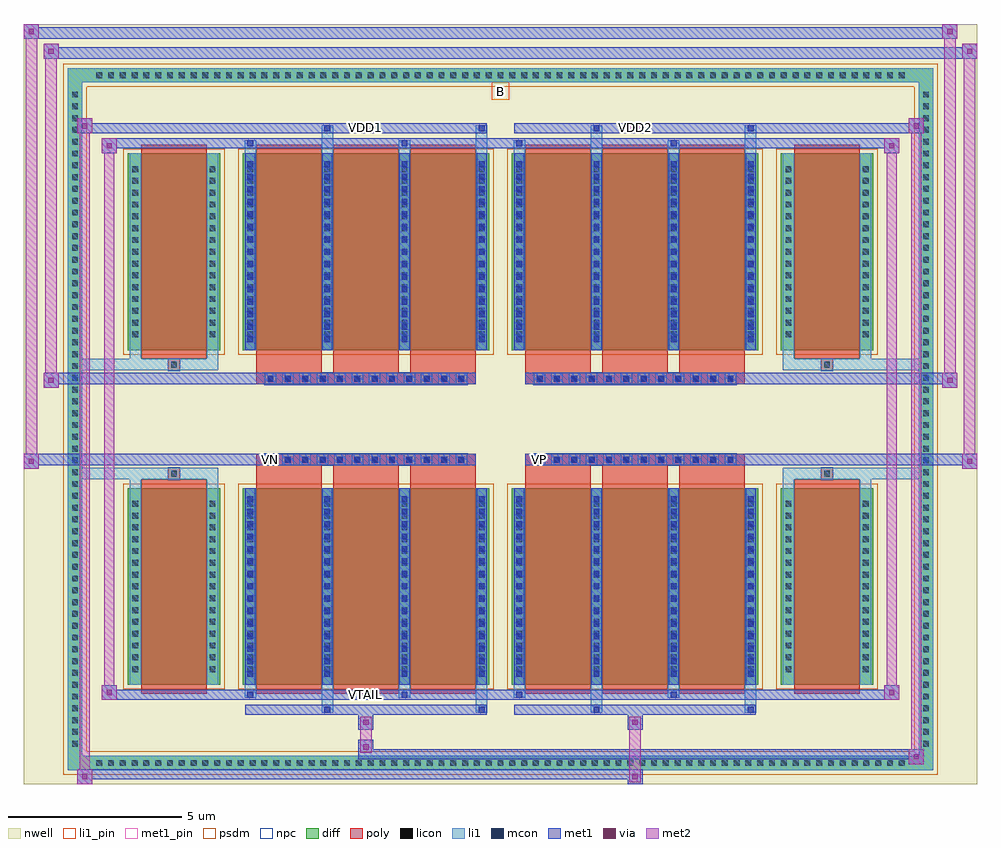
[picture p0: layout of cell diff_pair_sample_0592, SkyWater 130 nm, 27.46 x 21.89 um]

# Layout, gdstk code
import gdstk
lib = gdstk.Library(unit=1e-6, precision=5e-09)
def R(c, l, rs):  # rectangles x0, y0, x1, y1
    for r in rs: c.add(gdstk.rectangle(r[:2], r[2:], *l))
def A(c, l, x, y, w, h, nx, ny, dx, dy):  # array of equal rectangles
    R(c, l, [(x+i*dx, y+j*dy, x+i*dx+w, y+j*dy+h) for i in range(nx) for j in range(ny)])
def P(c, l, *ps):  # polygons
    for p in ps: c.add(gdstk.Polygon(p, *l))
nwell = (64, 20)
diff = (65, 20)
poly = (66, 20)
licon = (66, 44)
li1_pin = (67, 16)
li1 = (67, 20)
mcon = (67, 44)
met1_pin = (68, 16)
met1 = (68, 20)
via = (68, 44)
met2 = (69, 20)
psdm = (94, 20)
npc = (95, 20)

diff_pair_sample_0592 = lib.new_cell('diff_pair_sample_0592')
R(diff_pair_sample_0592, nwell, [(-13.73,-10.51,13.73,11.38), (-11.05,-8.7,-0.01,-0.8), (0.01,-8.7,11.05,-0.8), (-11.05,0.8,-0.01,8.7), (0.01,0.8,11.05,8.7)])
A(diff_pair_sample_0592, diff, -11.765, -10.11, 0.41, 0.41, 69, 2, 0.34, 19.81)
A(diff_pair_sample_0592, diff, -12.46, -9.555, 0.41, 0.41, 1, 56, 0, 0.34)
A(diff_pair_sample_0592, diff, 12.05, -9.555, 0.41, 0.41, 1, 56, 0, 0.34)
R(diff_pair_sample_0592, diff, [(-11.765,-10.11,11.765,-9.7), (-12.46,-9.555,-12.05,9.555), (12.05,-9.555,12.46,9.555), (-10.74,-7.655,-8.07,-1.985), (-7.43,-7.655,-0.32,-1.985), (0.32,-7.655,7.43,-1.985), (8.07,-7.655,10.74,-1.985), (-10.74,1.985,-8.07,7.655), (-7.43,1.985,-0.32,7.655), (0.32,1.985,7.43,7.655), (8.07,1.985,10.74,7.655), (-11.765,9.7,11.765,10.11)])
P(diff_pair_sample_0592, diff, [(12.46,10.11),(-12.46,10.11),(-12.46,-9.7),(-12.05,-9.7),(-12.05,9.7),(12.05,9.7),(12.05,-9.7),(-12.05,-9.7),(-12.46,-9.7),(-12.46,-10.11),(12.46,-10.11)])
A(diff_pair_sample_0592, poly, -7.04, -7.905, 1.89, 6.17, 3, 2, 2.22, 9.64)
A(diff_pair_sample_0592, poly, 0.71, -7.905, 1.89, 6.17, 3, 2, 2.22, 9.64)
A(diff_pair_sample_0592, poly, -7.04, -1.735, 1.89, 0.405, 3, 2, 2.22, 3.065)
A(diff_pair_sample_0592, poly, 0.71, -1.735, 1.89, 0.405, 3, 2, 2.22, 3.065)
A(diff_pair_sample_0592, poly, -6.79, -1.33, 0.33, 0.33, 12, 2, 0.5, 2.33)
A(diff_pair_sample_0592, poly, 0.96, -1.33, 0.33, 0.33, 12, 2, 0.5, 2.33)
R(diff_pair_sample_0592, poly, [(-10.35,-7.905,-8.46,-1.735), (8.46,-7.905,10.35,-1.735), (-9.57,-1.735,-9.24,-1.405), (-9.57,-1.735,-9.24,-1.405), (9.24,-1.735,9.57,-1.405), (9.24,-1.735,9.57,-1.405), (-7.04,-1.33,-0.71,-1), (0.71,-1.33,7.04,-1), (-7.04,1,-0.71,1.33), (0.71,1,7.04,1.33), (-9.57,1.405,-9.24,1.735), (-9.57,1.405,-9.24,1.735), (9.24,1.405,9.57,1.735), (9.24,1.405,9.57,1.735), (-10.35,1.735,-8.46,7.905), (8.46,1.735,10.35,7.905)])
A(diff_pair_sample_0592, licon, -11.645, -9.99, 0.17, 0.17, 69, 2, 0.34, 19.81)
A(diff_pair_sample_0592, licon, -12.34, -9.435, 0.17, 0.17, 1, 56, 0, 0.34)
A(diff_pair_sample_0592, licon, 12.17, -9.435, 0.17, 0.17, 1, 56, 0, 0.34)
A(diff_pair_sample_0592, licon, -10.6, -7.285, 0.17, 0.17, 1, 15, 0, 0.34)
A(diff_pair_sample_0592, licon, -8.38, -7.285, 0.17, 0.17, 1, 15, 0, 0.34)
A(diff_pair_sample_0592, licon, -7.29, -7.285, 0.17, 0.17, 4, 15, 2.22, 0.34)
A(diff_pair_sample_0592, licon, 0.46, -7.285, 0.17, 0.17, 4, 15, 2.22, 0.34)
A(diff_pair_sample_0592, licon, 8.21, -7.285, 0.17, 0.17, 1, 15, 0, 0.34)
A(diff_pair_sample_0592, licon, 10.43, -7.285, 0.17, 0.17, 1, 15, 0, 0.34)
A(diff_pair_sample_0592, licon, -6.71, -1.25, 0.17, 0.17, 12, 2, 0.5, 2.33)
A(diff_pair_sample_0592, licon, 1.04, -1.25, 0.17, 0.17, 12, 2, 0.5, 2.33)
A(diff_pair_sample_0592, licon, -10.6, 2.355, 0.17, 0.17, 1, 15, 0, 0.34)
A(diff_pair_sample_0592, licon, -8.38, 2.355, 0.17, 0.17, 1, 15, 0, 0.34)
A(diff_pair_sample_0592, licon, -7.29, 2.355, 0.17, 0.17, 4, 15, 2.22, 0.34)
A(diff_pair_sample_0592, licon, 0.46, 2.355, 0.17, 0.17, 4, 15, 2.22, 0.34)
A(diff_pair_sample_0592, licon, 8.21, 2.355, 0.17, 0.17, 1, 15, 0, 0.34)
A(diff_pair_sample_0592, licon, 10.43, 2.355, 0.17, 0.17, 1, 15, 0, 0.34)
R(diff_pair_sample_0592, licon, [(-9.49,-1.655,-9.32,-1.485), (9.32,-1.655,9.49,-1.485), (-9.49,1.485,-9.32,1.655), (9.32,1.485,9.49,1.655)])
R(diff_pair_sample_0592, li1_pin, [(-0.25,9.2,0.25,9.7)])
A(diff_pair_sample_0592, li1, -11.725, -10.07, 0.33, 0.33, 69, 2, 0.34, 19.81)
A(diff_pair_sample_0592, li1, -12.42, -9.515, 0.33, 0.33, 1, 56, 0, 0.34)
A(diff_pair_sample_0592, li1, 12.09, -9.515, 0.33, 0.33, 1, 56, 0, 0.34)
A(diff_pair_sample_0592, li1, -7.37, -7.655, 0.33, 5.67, 4, 2, 2.22, 9.64)
A(diff_pair_sample_0592, li1, 0.38, -7.655, 0.33, 5.67, 4, 2, 2.22, 9.64)
A(diff_pair_sample_0592, li1, -7.29, -7.425, 0.17, 0.17, 4, 15, 2.22, 0.36)
A(diff_pair_sample_0592, li1, -7.29, -7.425, 0.17, 5.21, 4, 2, 2.22, 9.64)
A(diff_pair_sample_0592, li1, 0.46, -7.425, 0.17, 0.17, 4, 15, 2.22, 0.36)
A(diff_pair_sample_0592, li1, 0.46, -7.425, 0.17, 5.21, 4, 2, 2.22, 9.64)
A(diff_pair_sample_0592, li1, -10.68, -7.365, 0.33, 0.33, 1, 15, 0, 0.34)
A(diff_pair_sample_0592, li1, -8.46, -7.365, 0.33, 0.33, 1, 15, 0, 0.34)
A(diff_pair_sample_0592, li1, -7.37, -7.365, 0.33, 0.33, 4, 15, 2.22, 0.34)
A(diff_pair_sample_0592, li1, 0.38, -7.365, 0.33, 0.33, 4, 15, 2.22, 0.34)
A(diff_pair_sample_0592, li1, 8.13, -7.365, 0.33, 0.33, 1, 15, 0, 0.34)
A(diff_pair_sample_0592, li1, 10.35, -7.365, 0.33, 0.33, 1, 15, 0, 0.34)
A(diff_pair_sample_0592, li1, -6.79, -1.33, 0.33, 0.33, 12, 2, 0.5, 2.33)
A(diff_pair_sample_0592, li1, 0.96, -1.33, 0.33, 0.33, 12, 2, 0.5, 2.33)
A(diff_pair_sample_0592, li1, -7.29, 2.215, 0.17, 0.17, 4, 15, 2.22, 0.36)
A(diff_pair_sample_0592, li1, 0.46, 2.215, 0.17, 0.17, 4, 15, 2.22, 0.36)
A(diff_pair_sample_0592, li1, -10.68, 2.275, 0.33, 0.33, 1, 15, 0, 0.34)
A(diff_pair_sample_0592, li1, -8.46, 2.275, 0.33, 0.33, 1, 15, 0, 0.34)
A(diff_pair_sample_0592, li1, -7.37, 2.275, 0.33, 0.33, 4, 15, 2.22, 0.34)
A(diff_pair_sample_0592, li1, 0.38, 2.275, 0.33, 0.33, 4, 15, 2.22, 0.34)
A(diff_pair_sample_0592, li1, 8.13, 2.275, 0.33, 0.33, 1, 15, 0, 0.34)
A(diff_pair_sample_0592, li1, 10.35, 2.275, 0.33, 0.33, 1, 15, 0, 0.34)
R(diff_pair_sample_0592, li1, [(-12.46,-10.11,-12.05,-9.7), (-12.46,-10.11,-12.05,-9.7), (-12.05,-10.11,12.05,-9.7), (12.05,-10.11,12.46,-9.7), (12.05,-10.11,12.46,-9.7), (-12.46,-9.7,-12.05,9.7), (12.05,-9.7,12.46,9.7), (-5.15,-8.46,-4.82,-7.655), (-5.07,-8.46,-4.9,-8.29), (-0.71,-8.46,-0.38,-7.655), (-0.63,-8.46,-0.46,-8.29), (2.6,-8.46,2.93,-7.655), (2.68,-8.46,2.85,-8.29), (7.04,-8.46,7.37,-7.655), (7.12,-8.46,7.29,-8.29), (-7.37,-8.03,-7.04,-7.655), (-7.29,-8.03,-7.12,-7.86), (-2.93,-8.03,-2.6,-7.655), (-2.85,-8.03,-2.68,-7.86), (0.38,-8.03,0.71,-7.655), (0.46,-8.03,0.63,-7.86), (4.82,-8.03,5.15,-7.655), (4.9,-8.03,5.07,-7.86), (-10.68,-7.655,-10.35,-1.985), (-8.46,-7.655,-8.13,-1.985), (8.13,-7.655,8.46,-1.985), (10.35,-7.655,10.68,-1.985), (-10.68,-1.985,-10.35,-1.405), (-8.46,-1.985,-8.13,-1.405), (8.13,-1.985,8.46,-1.405), (10.35,-1.985,10.68,-1.405), (-12.46,-1.735,-9.57,-1.405), (-10.68,-1.735,-9.57,-1.405), (-9.57,-1.735,-9.24,-1.405), (-9.24,-1.735,-8.13,-1.405), (8.13,-1.735,9.24,-1.405), (9.24,-1.735,9.57,-1.405), (9.24,-1.735,12.46,-1.405), (9.57,-1.735,10.68,-1.405), (-12.46,1.405,-9.57,1.735), (-10.68,1.405,-9.57,1.735), (-10.68,1.405,-10.35,1.985), (-9.57,1.405,-9.24,1.735), (-9.24,1.405,-8.13,1.735), (-8.46,1.405,-8.13,1.985), (8.13,1.405,9.24,1.735), (8.13,1.405,8.46,1.985), (9.24,1.405,9.57,1.735), (9.24,1.405,12.46,1.735), (9.57,1.405,10.68,1.735), (10.35,1.405,10.68,1.985), (-10.68,1.985,-10.35,7.655), (-8.46,1.985,-8.13,7.655), (8.13,1.985,8.46,7.655), (10.35,1.985,10.68,7.655), (-7.37,7.655,-7.04,8.03), (-5.15,7.655,-4.82,8.46), (-2.93,7.655,-2.6,8.03), (-0.71,7.655,-0.38,8.46), (0.38,7.655,0.71,8.03), (2.6,7.655,2.93,8.46), (4.82,7.655,5.15,8.03), (7.04,7.655,7.37,8.46), (-7.29,7.86,-7.12,8.03), (-2.85,7.86,-2.68,8.03), (0.46,7.86,0.63,8.03), (4.9,7.86,5.07,8.03), (-5.07,8.29,-4.9,8.46), (-0.63,8.29,-0.46,8.46), (2.68,8.29,2.85,8.46), (7.12,8.29,7.29,8.46), (-12.46,9.7,-12.05,10.11), (-12.46,9.7,-12.05,10.11), (-12.05,9.7,12.05,10.11), (12.05,9.7,12.46,10.11), (12.05,9.7,12.46,10.11)])
A(diff_pair_sample_0592, mcon, -7.29, -7.425, 0.17, 0.17, 4, 15, 2.22, 0.36)
A(diff_pair_sample_0592, mcon, 0.46, -7.425, 0.17, 0.17, 4, 15, 2.22, 0.36)
A(diff_pair_sample_0592, mcon, -6.71, -1.25, 0.17, 0.17, 12, 2, 0.5, 2.33)
A(diff_pair_sample_0592, mcon, 1.04, -1.25, 0.17, 0.17, 12, 2, 0.5, 2.33)
A(diff_pair_sample_0592, mcon, -7.29, 2.215, 0.17, 0.17, 4, 15, 2.22, 0.36)
A(diff_pair_sample_0592, mcon, 0.46, 2.215, 0.17, 0.17, 4, 15, 2.22, 0.36)
R(diff_pair_sample_0592, mcon, [(-5.07,-8.46,-4.9,-8.29), (-0.63,-8.46,-0.46,-8.29), (2.68,-8.46,2.85,-8.29), (7.12,-8.46,7.29,-8.29), (-7.29,-8.03,-7.12,-7.86), (-2.85,-8.03,-2.68,-7.86), (0.46,-8.03,0.63,-7.86), (4.9,-8.03,5.07,-7.86), (-7.29,7.86,-7.12,8.03), (-2.85,7.86,-2.68,8.03), (0.46,7.86,0.63,8.03), (4.9,7.86,5.07,8.03), (-5.07,8.29,-4.9,8.46), (-0.63,8.29,-0.46,8.46), (2.68,8.29,2.85,8.46), (7.12,8.29,7.29,8.46)])
R(diff_pair_sample_0592, met1_pin, [(-4.01,-8.07,-3.74,-7.8), (-6.76,-1.29,-6.49,-1.02), (0.99,-1.29,1.26,-1.02), (-4.01,8.25,-3.74,8.52), (3.74,8.25,4.01,8.52)])
A(diff_pair_sample_0592, met1, -7.35, -7.655, 0.29, 5.67, 4, 2, 2.22, 9.64)
A(diff_pair_sample_0592, met1, 0.4, -7.655, 0.29, 5.67, 4, 2, 2.22, 9.64)
A(diff_pair_sample_0592, met1, -7.35, -7.485, 0.29, 0.29, 4, 15, 2.22, 0.36)
A(diff_pair_sample_0592, met1, 0.4, -7.485, 0.29, 0.29, 4, 15, 2.22, 0.36)
A(diff_pair_sample_0592, met1, -6.77, -1.31, 0.29, 0.29, 12, 2, 0.5, 2.33)
A(diff_pair_sample_0592, met1, 0.98, -1.31, 0.29, 0.29, 12, 2, 0.5, 2.33)
A(diff_pair_sample_0592, met1, -7.35, 2.155, 0.29, 0.29, 4, 15, 2.22, 0.36)
A(diff_pair_sample_0592, met1, 0.4, 2.155, 0.29, 0.29, 4, 15, 2.22, 0.36)
R(diff_pair_sample_0592, met1, [(-12.19,-10.51,-11.76,-10.08), (3.66,-10.51,4.09,-10.08), (-12.19,-10.37,4.09,-10.08), (11.76,-9.94,12.19,-9.51), (-4.09,-9.8,12.19,-9.51), (-4.09,-9.66,-3.66,-9.23), (-4.09,-8.95,-3.66,-8.52), (3.66,-8.95,4.09,-8.52), (-7.35,-8.52,-0.4,-8.23), (-5.13,-8.52,-4.84,-8.23), (-0.69,-8.52,-0.4,-8.23), (0.4,-8.52,7.35,-8.23), (2.62,-8.52,2.91,-8.23), (7.06,-8.52,7.35,-8.23), (-11.48,-8.09,-11.05,-7.66), (-11.48,-8.09,-7.35,-7.8), (-7.35,-8.09,-7.06,-7.8), (-7.35,-8.09,-0.4,-7.8), (-2.91,-8.09,-2.62,-7.8), (-0.4,-8.09,0.4,-7.8), (0.4,-8.09,0.69,-7.8), (0.4,-8.09,7.35,-7.8), (4.84,-8.09,5.13,-7.8), (7.35,-8.09,11.48,-7.8), (11.05,-8.09,11.48,-7.66), (-13.73,-1.43,-13.3,-1), (13.3,-1.43,13.73,-1), (-13.73,-1.33,-0.71,-1), (-7.04,-1.33,-0.71,-1), (0.71,-1.33,7.04,-1), (0.71,-1.33,13.73,-1), (-13.16,0.9,-12.73,1.33), (12.73,0.9,13.16,1.33), (-13.16,1,-7.04,1.33), (-7.04,1,-0.71,1.33), (0.71,1,7.04,1.33), (7.04,1,13.16,1.33), (-11.48,7.66,-11.05,8.09), (11.05,7.66,11.48,8.09), (-11.48,7.8,-7.35,8.09), (-7.35,7.8,-7.06,8.09), (-7.35,7.8,-0.4,8.09), (-2.91,7.8,-2.62,8.09), (-0.4,7.8,0.4,8.09), (0.4,7.8,0.69,8.09), (0.4,7.8,7.35,8.09), (4.84,7.8,5.13,8.09), (7.35,7.8,11.48,8.09), (-12.19,8.23,-11.76,8.66), (-12.19,8.23,-7.35,8.52), (-7.35,8.23,-0.4,8.52), (-5.13,8.23,-4.84,8.52), (-0.69,8.23,-0.4,8.52), (0.4,8.23,7.35,8.52), (2.62,8.23,2.91,8.52), (7.06,8.23,7.35,8.52), (7.35,8.23,12.19,8.52), (11.76,8.23,12.19,8.66), (-13.16,10.38,-12.73,10.81), (-13.16,10.38,-11.05,10.71), (-11.05,10.38,11.05,10.71), (11.05,10.38,13.73,10.71), (13.3,10.38,13.73,10.81), (-13.73,10.95,-13.3,11.38), (-13.73,10.95,-11.05,11.28), (-11.05,10.95,11.05,11.28), (11.05,10.95,13.16,11.28), (12.73,10.95,13.16,11.38)])
R(diff_pair_sample_0592, via, [(-12.05,-10.37,-11.9,-10.22), (3.8,-10.37,3.95,-10.22), (11.9,-9.8,12.05,-9.65), (-3.95,-9.52,-3.8,-9.37), (-3.95,-8.81,-3.8,-8.66), (3.8,-8.81,3.95,-8.66), (-11.34,-7.95,-11.19,-7.8), (11.19,-7.95,11.34,-7.8), (-13.59,-1.29,-13.44,-1.14), (13.44,-1.29,13.59,-1.14), (-13.02,1.04,-12.87,1.19), (12.87,1.04,13.02,1.19), (-11.34,7.8,-11.19,7.95), (11.19,7.8,11.34,7.95), (-12.05,8.37,-11.9,8.52), (11.9,8.37,12.05,8.52), (-13.02,10.52,-12.87,10.67), (13.44,10.52,13.59,10.67), (-13.59,11.09,-13.44,11.24), (12.87,11.09,13.02,11.24)])
R(diff_pair_sample_0592, met2, [(-12.19,-10.51,-11.76,-10.08), (-12.12,-10.51,-11.83,8.66), (-11.83,-10.51,-11.76,-10.08), (-12.14,-10.46,-11.81,-10.13), (3.71,-10.46,4.04,-10.13), (3.71,-10.13,4.04,-8.9), (11.76,-9.94,12.19,-9.51), (11.83,-9.94,12.12,8.66), (12.12,-9.94,12.19,-9.51), (11.81,-9.89,12.14,-9.56), (-4.04,-9.61,-3.71,-9.28), (-4.04,-9.28,-3.71,-8.9), (-4.04,-8.9,-3.71,-8.57), (3.71,-8.9,4.04,-8.57), (-11.48,-8.09,-11.05,-7.66), (-11.41,-8.09,-11.12,8.09), (-11.12,-8.09,-11.05,-7.66), (11.05,-8.09,11.48,-7.66), (11.12,-8.09,11.41,8.09), (11.41,-8.09,11.48,-7.66), (-11.43,-8.04,-11.1,-7.71), (11.1,-8.04,11.43,-7.71), (-13.73,-1.43,-13.3,-1), (-13.68,-1.43,-13.35,11.38), (-13.35,-1.43,-13.3,-1), (13.3,-1.43,13.73,-1), (13.35,-1.43,13.68,10.81), (13.68,-1.43,13.73,-1), (-13.68,-1.38,-13.35,-1.05), (13.35,-1.38,13.68,-1.05), (-13.16,0.9,-12.73,1.33), (-13.11,0.9,-12.78,10.81), (-12.78,0.9,-12.73,1.33), (12.73,0.9,13.16,1.33), (12.78,0.9,13.11,11.38), (13.11,0.9,13.16,1.33), (-13.11,0.95,-12.78,1.28), (12.78,0.95,13.11,1.28), (-11.48,7.66,-11.05,8.09), (-11.12,7.66,-11.05,8.09), (11.05,7.66,11.48,8.09), (11.41,7.66,11.48,8.09), (-11.43,7.71,-11.1,8.04), (11.1,7.71,11.43,8.04), (-12.19,8.23,-11.76,8.66), (-11.83,8.23,-11.76,8.66), (11.76,8.23,12.19,8.66), (12.12,8.23,12.19,8.66), (-12.14,8.28,-11.81,8.61), (11.81,8.28,12.14,8.61), (-13.16,10.38,-12.73,10.81), (-12.78,10.38,-12.73,10.81), (13.3,10.38,13.73,10.81), (13.68,10.38,13.73,10.81), (-13.11,10.43,-12.78,10.76), (13.35,10.43,13.68,10.76), (-13.73,10.95,-13.3,11.38), (-13.35,10.95,-13.3,11.38), (12.73,10.95,13.16,11.38), (13.11,10.95,13.16,11.38), (-13.68,11,-13.35,11.33), (12.78,11,13.11,11.33)])
R(diff_pair_sample_0592, psdm, [(-10.87,-7.785,-7.94,-1.855), (-7.56,-7.785,-0.19,-1.855), (0.19,-7.785,7.56,-1.855), (7.94,-7.785,10.87,-1.855), (-10.87,1.855,-7.94,7.785), (-7.56,1.855,-0.19,7.785), (0.19,1.855,7.56,7.785), (7.94,1.855,10.87,7.785)])
P(diff_pair_sample_0592, psdm, [(12.59,10.24),(-12.59,10.24),(-12.59,-9.57),(-11.92,-9.57),(-11.92,9.57),(11.92,9.57),(11.92,-9.57),(-11.92,-9.57),(-12.59,-9.57),(-12.59,-10.24),(12.59,-10.24)])
A(diff_pair_sample_0592, npc, -6.81, -1.35, 0.37, 0.37, 12, 2, 0.5, 2.33)
A(diff_pair_sample_0592, npc, 0.94, -1.35, 0.37, 0.37, 12, 2, 0.5, 2.33)
R(diff_pair_sample_0592, npc, [(-9.59,-1.755,-9.22,-1.385), (9.22,-1.755,9.59,-1.385), (-6.81,-1.35,-5.94,-0.98), (-6.81,-1.35,-5.94,-0.98), (-6.31,-1.35,-5.44,-0.98), (-6.31,-1.35,-5.44,-0.98), (-5.81,-1.35,-4.94,-0.98), (-5.81,-1.35,-4.94,-0.98), (-5.31,-1.35,-4.44,-0.98), (-5.31,-1.35,-4.44,-0.98), (-4.81,-1.35,-3.94,-0.98), (-4.81,-1.35,-3.94,-0.98), (-4.31,-1.35,-3.44,-0.98), (-4.31,-1.35,-3.44,-0.98), (-3.81,-1.35,-2.94,-0.98), (-3.81,-1.35,-2.94,-0.98), (-3.31,-1.35,-2.44,-0.98), (-3.31,-1.35,-2.44,-0.98), (-2.81,-1.35,-1.94,-0.98), (-2.81,-1.35,-1.94,-0.98), (-2.31,-1.35,-1.44,-0.98), (-2.31,-1.35,-1.44,-0.98), (-1.81,-1.35,-0.94,-0.98), (-1.81,-1.35,-0.94,-0.98), (0.94,-1.35,1.81,-0.98), (0.94,-1.35,1.81,-0.98), (1.44,-1.35,2.31,-0.98), (1.44,-1.35,2.31,-0.98), (1.94,-1.35,2.81,-0.98), (1.94,-1.35,2.81,-0.98), (2.44,-1.35,3.31,-0.98), (2.44,-1.35,3.31,-0.98), (2.94,-1.35,3.81,-0.98), (2.94,-1.35,3.81,-0.98), (3.44,-1.35,4.31,-0.98), (3.44,-1.35,4.31,-0.98), (3.94,-1.35,4.81,-0.98), (3.94,-1.35,4.81,-0.98), (4.44,-1.35,5.31,-0.98), (4.44,-1.35,5.31,-0.98), (4.94,-1.35,5.81,-0.98), (4.94,-1.35,5.81,-0.98), (5.44,-1.35,6.31,-0.98), (5.44,-1.35,6.31,-0.98), (5.94,-1.35,6.81,-0.98), (5.94,-1.35,6.81,-0.98), (-6.81,0.98,-5.94,1.35), (-6.81,0.98,-5.94,1.35), (-6.31,0.98,-5.44,1.35), (-6.31,0.98,-5.44,1.35), (-5.81,0.98,-4.94,1.35), (-5.81,0.98,-4.94,1.35), (-5.31,0.98,-4.44,1.35), (-5.31,0.98,-4.44,1.35), (-4.81,0.98,-3.94,1.35), (-4.81,0.98,-3.94,1.35), (-4.31,0.98,-3.44,1.35), (-4.31,0.98,-3.44,1.35), (-3.81,0.98,-2.94,1.35), (-3.81,0.98,-2.94,1.35), (-3.31,0.98,-2.44,1.35), (-3.31,0.98,-2.44,1.35), (-2.81,0.98,-1.94,1.35), (-2.81,0.98,-1.94,1.35), (-2.31,0.98,-1.44,1.35), (-2.31,0.98,-1.44,1.35), (-1.81,0.98,-0.94,1.35), (-1.81,0.98,-0.94,1.35), (0.94,0.98,1.81,1.35), (0.94,0.98,1.81,1.35), (1.44,0.98,2.31,1.35), (1.44,0.98,2.31,1.35), (1.94,0.98,2.81,1.35), (1.94,0.98,2.81,1.35), (2.44,0.98,3.31,1.35), (2.44,0.98,3.31,1.35), (2.94,0.98,3.81,1.35), (2.94,0.98,3.81,1.35), (3.44,0.98,4.31,1.35), (3.44,0.98,4.31,1.35), (3.94,0.98,4.81,1.35), (3.94,0.98,4.81,1.35), (4.44,0.98,5.31,1.35), (4.44,0.98,5.31,1.35), (4.94,0.98,5.81,1.35), (4.94,0.98,5.81,1.35), (5.44,0.98,6.31,1.35), (5.44,0.98,6.31,1.35), (5.94,0.98,6.81,1.35), (5.94,0.98,6.81,1.35), (-9.59,1.385,-9.22,1.755), (9.22,1.385,9.59,1.755)])
diff_pair_sample_0592.add(gdstk.Label('VTAIL', (-3.875,-7.935), layer=68, texttype=5))
diff_pair_sample_0592.add(gdstk.Label('VN', (-6.625,-1.155), layer=68, texttype=5))
diff_pair_sample_0592.add(gdstk.Label('VP', (1.125,-1.155), layer=68, texttype=5))
diff_pair_sample_0592.add(gdstk.Label('B', (0,9.45), layer=67, texttype=5))
diff_pair_sample_0592.add(gdstk.Label('VDD2', (3.875,8.385), layer=68, texttype=5))
diff_pair_sample_0592.add(gdstk.Label('VDD1', (-3.875,8.385), layer=68, texttype=5))

lib.write_gds('diff_pair_sample_0592.gds')
